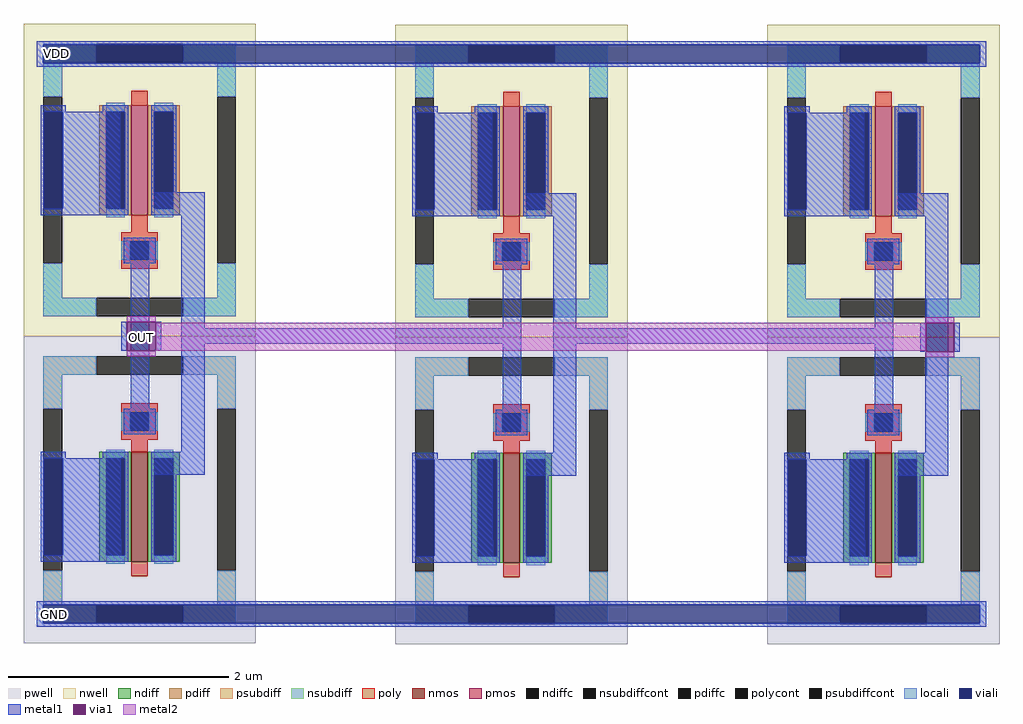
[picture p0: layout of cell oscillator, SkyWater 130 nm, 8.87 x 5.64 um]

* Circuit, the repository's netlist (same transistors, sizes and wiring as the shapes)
** sch_path: /home/jevon/project-polytron/oscillator.sch
.subckt oscillator vdd out gnd
*.PININFO out:O vdd:B gnd:B
x1 vdd net1 net2 gnd inverter
x2 vdd out net1 gnd inverter
x3 vdd net2 out gnd inverter
.ends

* expanding   symbol:  inverter.sym # of pins=4
** sym_path: /home/jevon/project-polytron/inverter.sym
** sch_path: /home/jevon/project-polytron/inverter.sch
.subckt inverter vdd in OUT gnd
*.PININFO vdd:I in:I gnd:I OUT:O
XM1 OUT in gnd gnd sky130_fd_pr__nfet_01v8 L=0.15 W=1 nf=1 m=1
XM2 OUT in vdd vdd sky130_fd_pr__pfet_01v8 L=0.15 W=1 nf=1 m=1
.ends

.end

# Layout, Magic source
magic
tech sky130A
<< viali >>
rect -81 535 770 552
rect -81 26 770 43
<< metal1 >>
rect -87 552 776 555
rect -87 535 -81 552
rect 770 535 776 552
rect -87 532 776 535
rect -10 274 -5 300
rect 21 274 26 300
rect 55 280 345 294
rect 394 280 684 294
rect 716 273 721 299
rect 747 273 752 299
rect -87 43 776 46
rect -87 26 -81 43
rect 770 26 776 43
rect -87 23 776 26
<< via1 >>
rect -5 274 21 300
rect 721 273 747 299
<< metal2 >>
rect -5 300 21 305
rect 721 299 747 304
rect 21 274 721 299
rect -5 269 21 274
rect 721 268 747 273
use inverter  inverter_0
transform 1 0 604 0 1 2
box -27 5 184 568
use inverter  inverter_1
transform 1 0 -72 0 1 3
box -27 5 184 568
use inverter  inverter_2
transform 1 0 266 0 1 2
box -27 5 184 568
<< labels >>
flabel viali -69 544 -69 544 0 FreeSans 80 0 0 0 VDD
port 0 nsew
flabel viali -71 34 -71 34 0 FreeSans 80 0 0 0 GND
port 1 nsew
flabel via1 8 286 8 286 0 FreeSans 80 0 0 0 OUT
port 2 nsew
<< end >>

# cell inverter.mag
magic
tech sky130A
magscale 1 2
<< viali >>
rect -17 800 17 976
rect -17 170 17 346
<< metal1 >>
rect -23 976 23 988
rect -23 800 -17 976
rect 17 800 122 976
rect -23 788 122 800
rect 185 788 275 830
rect 141 396 175 741
rect 233 358 275 788
rect -23 346 23 358
rect -23 170 -17 346
rect 17 200 123 346
rect 178 316 275 358
rect 17 170 124 200
rect -23 158 124 170
use sky130_fd_pr__nfet_01v8_64Z3AY  XM1
transform 1 0 157 0 1 289
box -211 -279 211 279
use sky130_fd_pr__pfet_01v8_LGS3BL  XM2
transform 1 0 157 0 1 852
box -211 -284 211 284
<< labels >>
flabel metal1 50 884 50 884 0 FreeSans 160 0 0 0 VDD
port 0 nsew
flabel metal1 52 254 52 254 0 FreeSans 160 0 0 0 GND
port 1 nsew
flabel metal1 158 566 158 566 0 FreeSans 160 0 0 0 IN
port 2 nsew
flabel metal1 256 568 256 568 0 FreeSans 160 0 0 0 OUT
port 3 nsew
<< end >>

# cell sky130_fd_pr__nfet_01v8_64Z3AY: kit device sky130_fd_pr__nfet_01v8, w 1.0 l 0.15 m 1 nf 1 diffcov 100 polycov 100 guard 1 glc 1 grc 1 gtc 1 gbc 1 tbcov 100 rlcov 100 topc 1 botc 0 poverlap 0 doverlap 1 lmin 0.15 wmin 0.42 compatible {sky130_fd_pr__nfet_01v8 sky130_fd_pr__nfet_01v8_lvt sky130_fd_bs_flash__special_sonosfet_star sky130_fd_pr__nfet_g5v0d10v5 sky130_fd_pr__nfet_05v0_nvt sky130_fd_pr__nfet_03v3_nvt} full_metal 1 viasrc 100 viadrn 100 viagate 100 viagb 0 viagr 0 viagl 0 viagt 0

# cell sky130_fd_pr__pfet_01v8_LGS3BL: kit device sky130_fd_pr__pfet_01v8, w 1.0 l 0.15 m 1 nf 1 diffcov 100 polycov 100 guard 1 glc 1 grc 1 gtc 1 gbc 1 tbcov 100 rlcov 100 topc 0 botc 1 poverlap 0 doverlap 1 lmin 0.15 wmin 0.42 compatible {sky130_fd_pr__pfet_01v8 sky130_fd_pr__pfet_01v8_lvt sky130_fd_pr__pfet_01v8_hvt sky130_fd_pr__pfet_g5v0d10v5} full_metal 1 viasrc 100 viadrn 100 viagate 100 viagb 0 viagr 0 viagl 0 viagt 0
